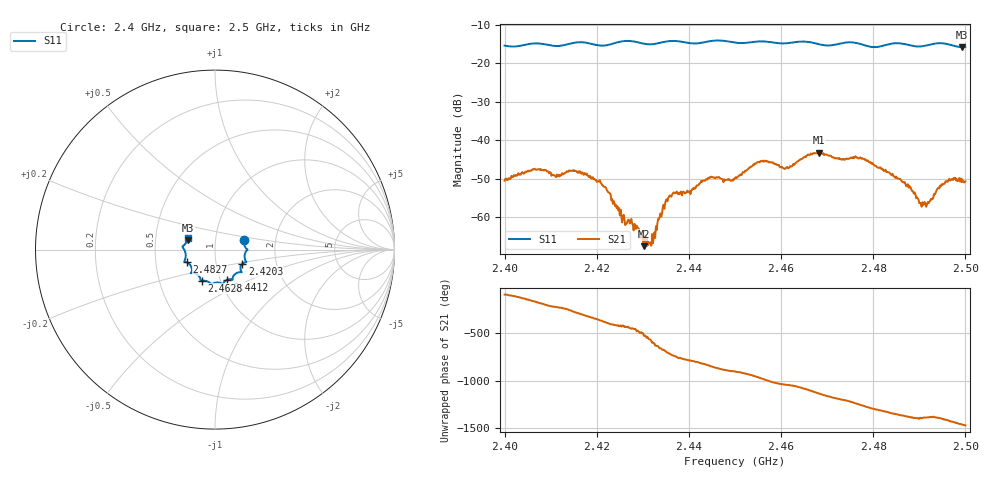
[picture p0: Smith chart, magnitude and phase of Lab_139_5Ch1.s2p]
# Hz S RI R 50
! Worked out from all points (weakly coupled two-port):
!   601 points, 2.4 GHz to 2.5 GHz, reference 50 ohm
!   highest |S21| = -43.23 dB at 2.4682 GHz (marker M1); lowest = -67.5 dB at 2.4302 GHz (marker M2)
!   lowest |S11| = -15.8 dB at 2.4993 GHz (marker M3), VSWR 1.39, Z = 36.5 + j4.07 ohm
!   |S11| at or under -10 dB: start of sweep to end of sweep
!   S12 and S22 are empty: the file has one direction only
!   S11 on the Smith chart (normalised r, x): 2.4 GHz: 1.37, +0.15; 2.4203 GHz: 1.34, -0.22; 2.4412 GHz: 1.08, -0.37; 2.4628 GHz: 0.82, -0.29; 2.4827 GHz: 0.72, -0.10; 2.5 GHz: 0.73, +0.10
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2.4e9  0.1613 0.0535  -0.000152 -0.00299  0 0  0 0
2.4065e9  0.1814 0.000439  -0.00414 -0.0011  0 0  0 0
2.416667e9  0.1746 -0.0696  0.00181 0.00321  0 0  0 0
2.420333e9  0.1521 -0.0789  0.00293 0.000174  0 0  0 0
2.426e9  0.1489 -0.1254  0.000227 -0.000918  0 0  0 0
2.430167e9  0.1265 -0.1283  -0.000392 -0.000157  0 0  0 0
2.431833e9  0.1089 -0.1392  -0.000316 0.000289  0 0  0 0
2.433333e9  0.0998 -0.1524  0.000148 0.000947  0 0  0 0
2.436167e9  0.0982 -0.1684  0.00184 -0.0002  0 0  0 0
2.441167e9  0.0686 -0.1677  0.000571 -0.00237  0 0  0 0
2.444667e9  0.0448 -0.1892  -0.00201 -0.00261  0 0  0 0
2.45e9  0.0247 -0.1842  -0.00317 0.000122  0 0  0 0
2.4555e9  -0.0181 -0.1919  -0.00162 0.00511  0 0  0 0
2.462833e9  -0.0719 -0.1732  0.00438 0.002  0 0  0 0
2.466667e9  -0.0805 -0.1681  0.00578 -0.00313  0 0  0 0
2.468167e9  -0.0841 -0.1564  0.00412 -0.00552  0 0  0 0
2.482667e9  -0.1578 -0.0704  -0.00164 0.00382  0 0  0 0
2.483333e9  -0.1633 -0.0684  -0.001 0.00371  0 0  0 0
2.491e9  -0.1678 -0.00811  0.00091 0.00118  0 0  0 0
2.496e9  -0.1768 0.0213  0.00257 0.00135  0 0  0 0
2.499333e9  -0.153 0.0542  0.00287 -0.0012  0 0  0 0
2.5e9  -0.1505 0.0642  0.00253 -0.00152  0 0  0 0
